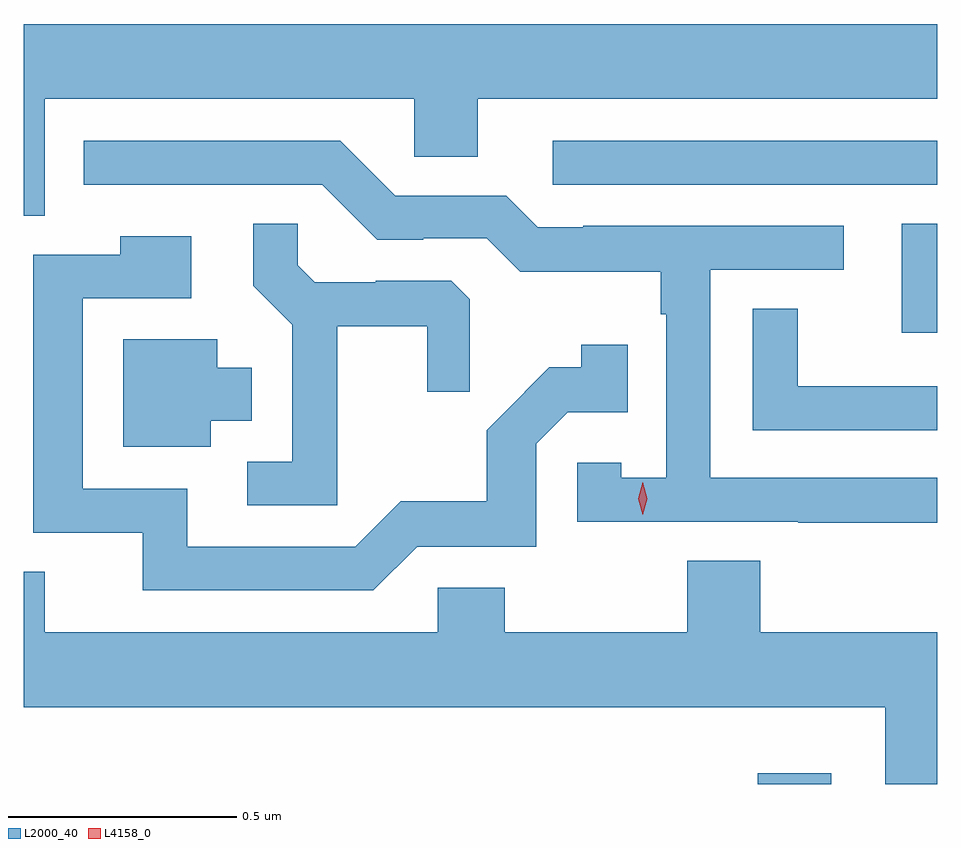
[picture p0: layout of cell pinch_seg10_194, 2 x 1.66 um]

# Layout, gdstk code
import gdstk
lib = gdstk.Library(unit=1e-6, precision=1e-09)
def R(c, l, rs):  # rectangles x0, y0, x1, y1
    for r in rs: c.add(gdstk.rectangle(r[:2], r[2:], *l))
def P(c, l, *ps):  # polygons
    for p in ps: c.add(gdstk.Polygon(p, *l))
L2000_40 = (2000, 40)
L4158_0 = (4158, 0)

pinch_seg10_194 = lib.new_cell('pinch_seg10_194')
R(pinch_seg10_194, L2000_40, [(746.57,1264.184,746.731,1264.207), (746.885,1265.172,746.963,1265.411), (746.121,1265.496,746.963,1265.592)])
P(pinch_seg10_194, L2000_40, [(745.009,1265.684),(745.818,1265.684),(745.818,1265.557),(745.957,1265.557),(745.957,1265.684),(746.963,1265.684),(746.963,1265.848),(744.963,1265.848),(744.963,1265.428),(745.009,1265.428)],
  [(746.963,1264.854),(746.466,1264.854),(746.466,1265.31),(746.758,1265.31),(746.758,1265.406),(746.188,1265.406),(746.188,1265.403),(746.088,1265.403),(746.019,1265.472),(745.776,1265.472),(745.656,1265.592),(745.094,1265.592),(745.094,1265.496),(745.617,1265.496),(745.737,1265.376),(745.838,1265.376),(745.838,1265.379),(745.977,1265.379),(746.05,1265.306),(746.358,1265.306),(746.358,1265.213),(746.37,1265.213),(746.37,1264.855),(746.271,1264.855),(746.271,1264.887),(746.175,1264.887),(746.175,1264.758),(746.659,1264.758),(746.659,1264.756),(746.963,1264.756)],
  [(745.649,1265.186),(745.846,1265.186),(745.846,1265.043),(745.94,1265.043),(745.94,1265.245),(745.899,1265.286),(745.734,1265.286),(745.734,1265.283),(745.6,1265.283),(745.563,1265.32),(745.563,1265.411),(745.465,1265.411),(745.465,1265.275),(745.551,1265.189),(745.551,1264.89),(745.452,1264.89),(745.452,1264.794),(745.649,1264.794)],
  [(745.824,1264.704),(746.085,1264.704),(746.085,1264.929),(746.154,1264.998),(746.285,1264.998),(746.285,1265.146),(746.184,1265.146),(746.184,1265.096),(746.114,1265.096),(746.005,1264.987),(745.977,1264.958),(745.977,1264.803),(745.788,1264.803),(745.689,1264.704),(745.321,1264.704),(745.321,1264.83),(745.092,1264.83),(745.092,1265.247),(745.33,1265.247),(745.33,1265.383),(745.174,1265.383),(745.174,1265.343),(744.984,1265.343),(744.984,1264.734),(745.223,1264.734),(745.223,1264.608),(745.728,1264.608)],
  [(746.963,1265.055),(746.658,1265.055),(746.658,1265.225),(746.559,1265.225),(746.559,1264.959),(746.963,1264.959)],
  [(745.372,1264.979),(745.462,1264.979),(745.462,1265.095),(745.387,1265.095),(745.387,1265.158),(745.181,1265.158),(745.181,1264.922),(745.372,1264.922)],
  [(746.963,1264.516),(746.576,1264.516),(746.576,1264.673),(746.416,1264.673),(746.416,1264.516),(746.016,1264.516),(746.016,1264.614),(745.869,1264.614),(745.869,1264.516),(745.009,1264.516),(745.009,1264.649),(744.963,1264.649),(744.963,1264.352),(746.849,1264.352),(746.849,1264.184),(746.963,1264.184)])
P(pinch_seg10_194, L4158_0, [(746.318,1264.773),(746.318,1264.773),(746.308,1264.809),(746.318,1264.845),(746.318,1264.845),(746.318,1264.845),(746.328,1264.809),(746.318,1264.773)])

lib.write_gds('pinch_seg10_194.gds')
